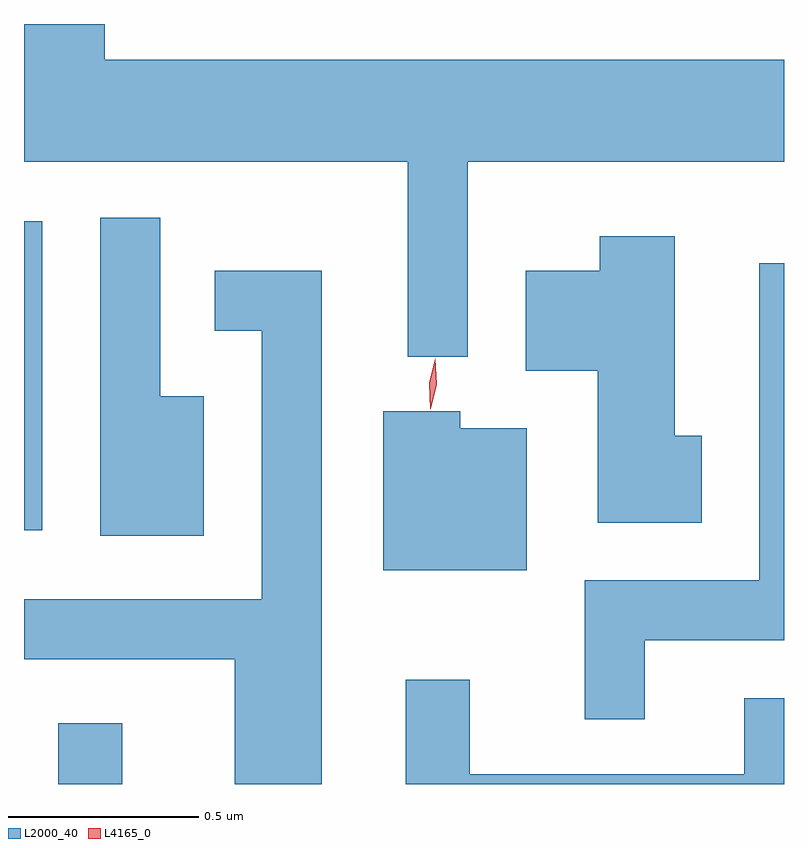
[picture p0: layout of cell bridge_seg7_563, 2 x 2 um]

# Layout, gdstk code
import gdstk
lib = gdstk.Library(unit=1e-6, precision=1e-09)
def R(c, l, rs):  # rectangles x0, y0, x1, y1
    for r in rs: c.add(gdstk.rectangle(r[:2], r[2:], *l))
def P(c, l, *ps):  # polygons
    for p in ps: c.add(gdstk.Polygon(p, *l))
L2000_40 = (2000, 40)
L4165_0 = (4165, 0)

bridge_seg7_563 = lib.new_cell('bridge_seg7_563')
R(bridge_seg7_563, L2000_40, [(856.386,1750.418,856.554,1750.578), (856.296,1751.086,856.344,1751.899)])
P(bridge_seg7_563, L2000_40, [(857.464,1752.056),(858.296,1752.056),(858.296,1752.324),(856.509,1752.324),(856.509,1752.418),(856.296,1752.418),(856.296,1752.056),(857.306,1752.056),(857.306,1751.543),(857.464,1751.543)],
  [(856.769,1751.439),(856.654,1751.439),(856.654,1751.908),(856.496,1751.908),(856.496,1751.071),(856.769,1751.071)],
  [(858.079,1751.334),(858.009,1751.334),(858.009,1751.859),(857.811,1751.859),(857.811,1751.769),(857.616,1751.769),(857.616,1751.506),(857.806,1751.506),(857.806,1751.106),(858.079,1751.106)],
  [(857.929,1750.796),(858.296,1750.796),(858.296,1751.788),(858.231,1751.788),(858.231,1750.954),(857.771,1750.954),(857.771,1750.588),(857.929,1750.588)],
  [(857.079,1751.769),(856.798,1751.769),(856.798,1751.611),(856.921,1751.611),(856.921,1750.904),(856.296,1750.904),(856.296,1750.746),(856.851,1750.746),(856.851,1750.418),(857.079,1750.418)],
  [(857.619,1751.354),(857.444,1751.354),(857.444,1751.399),(857.241,1751.399),(857.241,1750.981),(857.619,1750.981)],
  [(858.296,1750.644),(858.191,1750.644),(858.191,1750.444),(857.469,1750.444),(857.469,1750.693),(857.301,1750.693),(857.301,1750.418),(858.296,1750.418)])
P(bridge_seg7_563, L4165_0, [(857.365,1751.404),(857.365,1751.405),(857.362,1751.472),(857.378,1751.537),(857.378,1751.538),(857.378,1751.537),(857.382,1751.47),(857.366,1751.405)])

lib.write_gds('bridge_seg7_563.gds')
